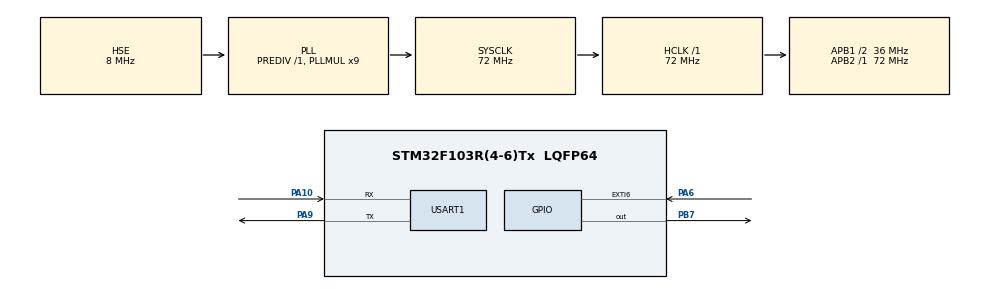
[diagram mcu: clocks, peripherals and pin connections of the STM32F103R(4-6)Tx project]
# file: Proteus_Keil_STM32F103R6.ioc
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Mcu.Family=STM32F1
Mcu.Name=STM32F103R(4-6)Tx
Mcu.Package=LQFP64
NVIC.EXTI9_5_IRQn=true\:2\:0\:true\:false\:true\:true\:true
NVIC.PriorityGroup=NVIC_PRIORITYGROUP_4
NVIC.TIM2_IRQn=true\:1\:0\:true\:false\:true\:true\:true
PA10.Mode=Asynchronous
PA10.Signal=USART1_RX
PA13.Mode=Serial_Wire
PA13.Signal=SYS_JTMS-SWDIO
PA14.Mode=Serial_Wire
PA14.Signal=SYS_JTCK-SWCLK
PA6.GPIO_ModeDefaultEXTI=GPIO_MODE_IT_FALLING
PA6.GPIO_PuPd=GPIO_PULLUP
PA6.Signal=GPXTI6
PA9.Mode=Asynchronous
PA9.Signal=USART1_TX
PB7.GPIO_Speed=GPIO_SPEED_FREQ_HIGH
PB7.PinState=GPIO_PIN_SET
PB7.Signal=GPIO_Output
PD0-OSC_IN.Mode=HSE-External-Oscillator
PD0-OSC_IN.Signal=RCC_OSC_IN
PD1-OSC_OUT.Mode=HSE-External-Oscillator
PD1-OSC_OUT.Signal=RCC_OSC_OUT
ProjectManager.HeapSize=0x200
ProjectManager.StackSize=0x400
ProjectManager.TargetToolchain=MDK-ARM V5
RCC.AHBFreq_Value=72000000
RCC.APB1CLKDivider=RCC_HCLK_DIV2
RCC.APB1Freq_Value=36000000
RCC.APB1TimFreq_Value=72000000
RCC.APB2Freq_Value=72000000
RCC.APB2TimFreq_Value=72000000
RCC.HCLKFreq_Value=72000000
RCC.PLLMUL=RCC_PLL_MUL9
RCC.PLLSourceVirtual=RCC_PLLSOURCE_HSE
RCC.SYSCLKFreq_VALUE=72000000
RCC.SYSCLKSource=RCC_SYSCLKSOURCE_PLLCLK
RCC.USBFreq_Value=72000000
TIM2.AutoReloadPreload=TIM_AUTORELOAD_PRELOAD_ENABLE
TIM2.Period=1000-1
TIM2.Prescaler=72-1
USART1.VirtualMode=VM_ASYNC
VP_TIM2_VS_ClockSourceINT.Mode=Internal
board=custom

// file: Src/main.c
/* USER CODE BEGIN Header */
/**
  ******************************************************************************
  * @file           : main.c
  * @brief          : Main program body
  ******************************************************************************
  * @attention
  *
  * <h2><center>&copy; Copyright (c) 2020 STMicroelectronics.
  * All rights reserved.</center></h2>
  *
  * This software component is licensed by ST under BSD 3-Clause license,
  * the "License"; You may not use this file except in compliance with the
  * License. You may obtain a copy of the License at:
  *                        opensource.org/licenses/BSD-3-Clause
  *
  ******************************************************************************
  */
/* USER CODE END Header */

#include "main.h"
#include "tim.h"
#include "usart.h"
#include "gpio.h"

/* USER CODE BEGIN Includes */
#include "stdio.h"
#include "delay.h"
/* USER CODE END Includes */

/* USER CODE BEGIN PTD */
uint32_t pluseCount = 0;
uint16_t freq = 0;
/* USER CODE END PTD */

void SystemClock_Config(void);

/* USER CODE BEGIN 0 */
int GetPress(void)
{
    if(HAL_GPIO_ReadPin(GPIOA,GPIO_PIN_6)==0)
    {
        delay_ms(10);//����
        if(HAL_GPIO_ReadPin(GPIOA,GPIO_PIN_6)==0)
		{
			while(HAL_GPIO_ReadPin(GPIOA,GPIO_PIN_6)==0)//�ȴ�����̧��
			{;}
			return 1;
		}
		else return 0;
    }
    else    return 0;
}
/* USER CODE END 0 */

int main(void)
{
  /* USER CODE BEGIN 1 */

//	uint16_t bLEDLight = 0;
  /* USER CODE END 1 */

  /* MCU Configuration--------------------------------------------------------*/

  /* Reset of all peripherals, Initializes the Flash interface and the Systick. */
  HAL_Init();

  /* Configure the system clock */
  SystemClock_Config();

  /* Initialize all configured peripherals */
  MX_GPIO_Init();
  MX_USART1_UART_Init();
  MX_TIM2_Init();
  /* USER CODE BEGIN 2 */
HAL_TIM_Base_Start_IT(&htim2);
  /* USER CODE END 2 */

  /* Infinite loop */
  while (1)
  {

    /* USER CODE BEGIN 3 */
//	  if(GetPress()>0)
//	  {
//		bLEDLight = !bLEDLight;
//
//		if(bLEDLight)
//		{
//			HAL_GPIO_WritePin(GPIOB, GPIO_PIN_7, GPIO_PIN_RESET);
//		}
//		else
//		{
//			HAL_GPIO_WritePin(GPIOB, GPIO_PIN_7, GPIO_PIN_SET);
//		}
//	  }
      delay_ms(1000);
      printf("%d Hz\r\n",freq);

  }
  /* USER CODE END 3 */
}

void SystemClock_Config(void)
{
  RCC_OscInitTypeDef RCC_OscInitStruct = {0};
  RCC_ClkInitTypeDef RCC_ClkInitStruct = {0};

  /** Initializes the CPU, AHB and APB busses clocks
  */
  RCC_OscInitStruct.OscillatorType = RCC_OSCILLATORTYPE_HSE;
  RCC_OscInitStruct.HSEState = RCC_HSE_ON;
  RCC_OscInitStruct.HSEPredivValue = RCC_HSE_PREDIV_DIV1;
  RCC_OscInitStruct.HSIState = RCC_HSI_ON;
  RCC_OscInitStruct.PLL.PLLState = RCC_PLL_ON;
  RCC_OscInitStruct.PLL.PLLSource = RCC_PLLSOURCE_HSE;
  RCC_OscInitStruct.PLL.PLLMUL = RCC_PLL_MUL9;
  if (HAL_RCC_OscConfig(&RCC_OscInitStruct) != HAL_OK)
  {
    Error_Handler();
  }
  /** Initializes the CPU, AHB and APB busses clocks
  */
  RCC_ClkInitStruct.ClockType = RCC_CLOCKTYPE_HCLK|RCC_CLOCKTYPE_SYSCLK
                              |RCC_CLOCKTYPE_PCLK1|RCC_CLOCKTYPE_PCLK2;
  RCC_ClkInitStruct.SYSCLKSource = RCC_SYSCLKSOURCE_PLLCLK;
  RCC_ClkInitStruct.AHBCLKDivider = RCC_SYSCLK_DIV1;
  RCC_ClkInitStruct.APB1CLKDivider = RCC_HCLK_DIV2;
  RCC_ClkInitStruct.APB2CLKDivider = RCC_HCLK_DIV1;

  if (HAL_RCC_ClockConfig(&RCC_ClkInitStruct, FLASH_LATENCY_2) != HAL_OK)
  {
    Error_Handler();
  }
}

void Error_Handler(void)
{
}

/************************ (C) COPYRIGHT STMicroelectronics *****END OF FILE****/
